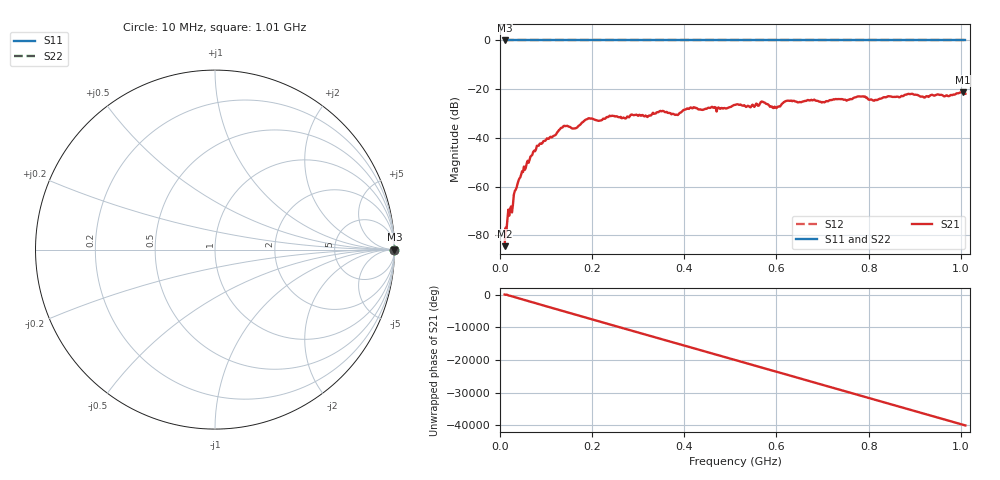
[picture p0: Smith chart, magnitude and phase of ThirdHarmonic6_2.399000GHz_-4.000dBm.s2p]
! 8/17/2025 3:56:34 AM
! C:\ANRITSUVNA\TEMP\TEMP.S2P
! CHANNEL.1
! TR.MEASUREMENT
! RAW.DATA
! RF.CORRECTION.OFF
! AVERAGING.OFF
! IF.BANDWIDTH: 5KHZ
! SWEEPTYPE:  FREQ.SWEEP(Linear)
! Reference Plane Port Info
! PORT:  PORT1  PORT2
! DISTANCE:  0  m  0  m
! TIME:  0  s  0  s
! PHASE.OFFSET:  0  deg.  0  deg.
! LOSS:  0  dB  0  dB
! REF.LOSS:  0  dB  0  dB
! REF.FREQ:  0  Hz  0  Hz
! Power Info
! POWER:  -20  dBm  -20  dBm
! EFF.POWER:  -20  dBm  -20  dBm
! SOURCE.ATTEN:  0  dB  0  dB
! TEST.ATTEN:  0  dB  0  dB
# GHZ S RI R 50.0
! FREQ.GHZ  S11RE  S11IM  S21RE  S21IM  S12RE  S12IM  S22RE  S22IM
!; PortSelection: Port_12
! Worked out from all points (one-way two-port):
!   501 points, 10 MHz to 1.01 GHz, reference 50 ohm
!   highest |S21| = -21.30 dB at 1.004 GHz (marker M1); lowest = -84.5 dB at 10 MHz (marker M2)
!   lowest |S11| = 0.0 dB at 10 MHz (marker M3)
!   |S11| at or under -10 dB: nowhere
!   |S22| runs from 0.0 to 0.0 dB; largest |S21 - S12| = 1.1
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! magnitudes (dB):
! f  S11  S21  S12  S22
! 10 MHz  0.0  -84.5  0.0  0.0
! 20 MHz  0.0  -72.0  0.0  0.0
! 24 MHz  0.0  -68.2  0.0  0.0
! 34 MHz  0.0  -61.3  0.0  0.0
! 44 MHz  0.0  -56.2  0.0  0.0
! 76 MHz  0.0  -45.5  0.0  0.0
! 136 MHz  0.0  -35.7  0.0  0.0
! 162 MHz  0.0  -36.1  0.0  0.0
! 178 MHz  0.0  -33.7  0.0  0.0
! 194 MHz  0.0  -32.0  0.0  0.0
! 322 MHz  0.0  -31.1  0.0  0.0
! 344 MHz  0.0  -29.4  0.0  0.0
! 384 MHz  0.0  -30.5  0.0  0.0
! 416 MHz  0.0  -27.8  0.0  0.0
! 510 MHz  0.0  -26.5  0.0  0.0
! 570 MHz  0.0  -25.2  0.0  0.0
! 596 MHz  0.0  -27.2  0.0  0.0
! 622 MHz  0.0  -24.8  0.0  0.0
! 678 MHz  0.0  -24.6  0.0  0.0
! 844 MHz  0.0  -22.9  0.0  0.0
! 1.004 GHz  0.0  -21.3  0.0  0.0
! 1.01 GHz  0.0  -21.9  0.0  0.0
